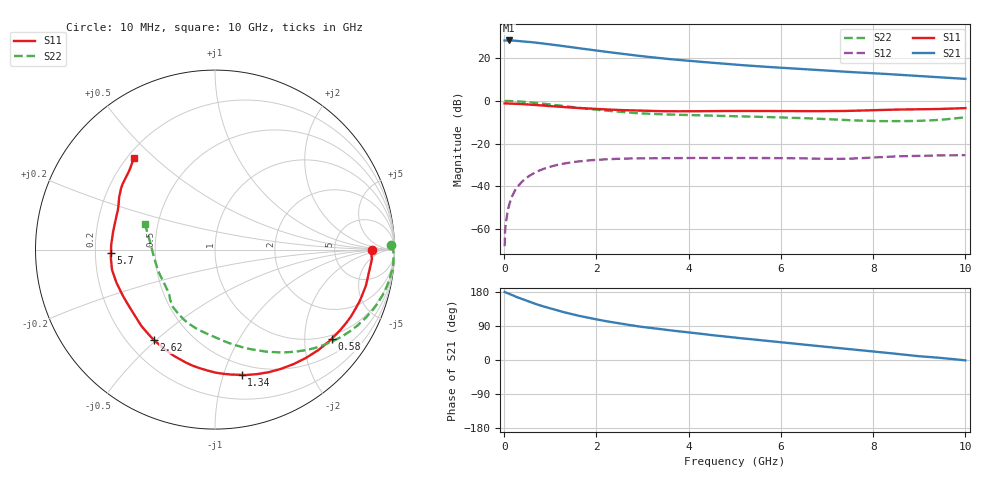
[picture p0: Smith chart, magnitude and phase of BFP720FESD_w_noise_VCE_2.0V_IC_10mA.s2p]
! Infineon Technologies  Discrete & RF Semiconductors
! BFP720FESD
! VCE =  2.0 V,  IC =  10 mA
! Common Emitter S-Parameters:  Jan 2016
# GHz  S  MA  R  50
!  f  S11  S21  S12  S22
! GHz  MAG  ANG  MAG  ANG  MAG  ANG  MAG  ANG
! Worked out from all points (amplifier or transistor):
!   233 points, 10 MHz to 10 GHz, reference 50 ohm
!   highest |S21| = 28.3 dB at 100 MHz (marker M1)
!   |S21| within 3 dB of that: start of sweep to 1.404 GHz
!   unconditionally stable (mu >= 1): 6.429 GHz to end of sweep
!   at 200 MHz: K = 0.04, MSG = 35.8 dB, |S12| = -43.3 dB
!   at 1.74 GHz: K = 0.29, MSG = 26.2 dB, |S12| = -28.0 dB
!   at 10 GHz: K = 1.31, MAG = 14.5 dB, |S12| = -25.4 dB
!   lowest NFmin = 0.67 dB at 450 MHz
!   S11 on the Smith chart (normalised r, x): 10 MHz: 15, -0; 580 MHz: 0.90, -2.70; 1.34 GHz: 0.40, -1.15; 2.62 GHz: 0.31, -0.49; 5.7 GHz: 0.27, -0.01; 10 GHz: 0.23, +0.43
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0.01  0.875 -0.2  25.96 179.7  0.0004 170.9  0.9797 1.4
0.03  0.8723 -2.0  25.93 178.4  0.0012 88.0  0.9946 -1.0
0.1  0.8693 -6.7  26.05 175.2  0.0034 86.0  0.9963 -4.1
0.2  0.8643 -13.4  25.88 170.0  0.0068 82.6  0.9892 -8.5
0.32  0.8524 -21.2  25.38 163.9  0.0107 78.1  0.9739 -13.5
0.46  0.8355 -29.9  24.6 157.4  0.0151 73.0  0.9505 -19.0
0.58  0.8185 -37.3  23.86 152.1  0.0186 69.0  0.9258 -23.5
0.72  0.7989 -45.5  22.95 146.4  0.0224 64.5  0.8956 -28.6
0.9  0.7734 -55.6  21.75 139.6  0.0268 59.2  0.8546 -34.7
1.12  0.743 -67.2  20.27 131.9  0.0313 53.2  0.8018 -41.8
1.34  0.7139 -78.0  18.85 124.7  0.035 47.7  0.7506 -48.4
1.68  0.6768 -92.8  16.82 115.1  0.0392 40.5  0.6795 -57.4
2.2  0.6345 -111.3  14.17 102.6  0.0431 32.1  0.5953 -69.4
2.62  0.6078 -124.2  12.45 94.0  0.0448 26.8  0.544 -78.1
3  0.5908 -134.1  11.12 87.2  0.0454 23.0  0.5101 -84.8
3.4  0.5768 -142.2  9.986 81.3  0.0456 20.9  0.4892 -89.9
4.4  0.5772 -160.0  8.015 67.2  0.0464 16.8  0.4561 -101.4
5.1  0.5837 -170.3  6.966 57.9  0.0464 14.7  0.4375 -109.6
5.7  0.5799 -178.3  6.276 50.6  0.0461 13.6  0.421 -116.1
6.8  0.5768 165.8  5.298 37.0  0.0447 13.7  0.3843 -129.3
8.4  0.6247 146.9  4.21 17.6  0.0499 19.3  0.3375 -156.4
10  0.6805 131.7  3.283 -1.0  0.0539 16.2  0.415 160.1
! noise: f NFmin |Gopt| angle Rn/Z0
0.45  0.67  0.34  3  0.12
2.4  0.75  0.2  29  0.13
5.5  0.89  0.27  115  0.09
10  1.35  0.26  -149  0.11
